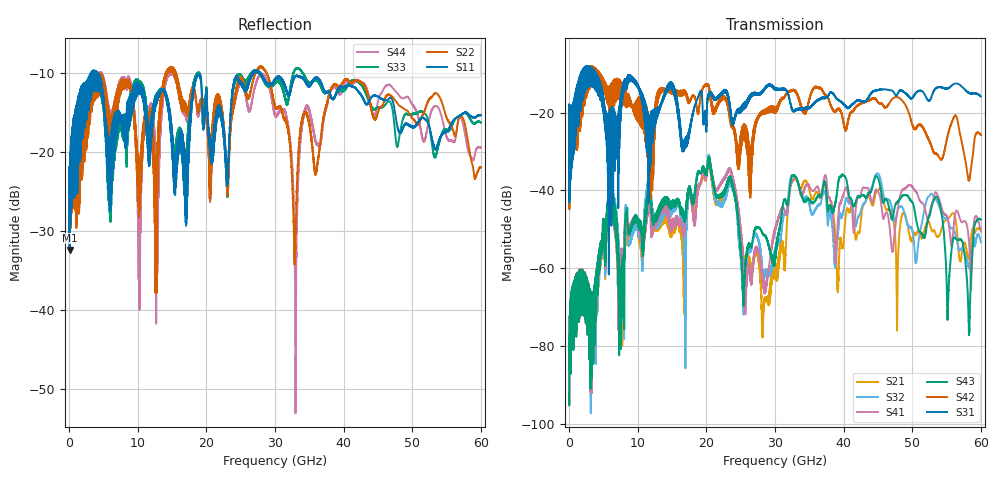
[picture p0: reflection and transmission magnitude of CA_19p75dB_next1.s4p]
!4 port subset of full cascaded channels using these ports:51 37 52 38
# Hz S RI R 50
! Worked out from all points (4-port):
!   6000 points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, 10 MHz to 60 GHz, reference 50 ohm
!   strongest paths, dB at 10 MHz, 15.01 GHz, 30.01 GHz, 45.01 GHz, 60 GHz:
!     S31: -21.8, -12.9, -13.7, -14.2, -15.8
!     S42: -21.9, -14.4, -18.7, -17.3, -25.7
!     S43: -92.1, -44.1, -56.1, -36.8, -47.5
!     S41: -92.1, -49.7, -50.1, -40.4, -50.6
!     S32: -91.9, -45.3, -55.4, -35.7, -53.3
!     S21: -92.0, -50.7, -60.9, -40.1, -49.9
!   lowest |S11| = -32.4 dB at 90 MHz (marker M1), VSWR 1.05, Z = 52.4 - j0.183 ohm
!   |S11| at or under -10 dB: start of sweep to 3.197 GHz; 4.192 GHz to 26.71 GHz (22.52 GHz wide, 146 % of centre); 27.9 GHz to end of sweep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
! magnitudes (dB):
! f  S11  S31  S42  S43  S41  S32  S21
! 10 MHz  -23.9  -21.8  -21.9  -92.1  -92.1  -91.9  -92.0
! 90 MHz  -32.4  -22.8  -21.9  -75.4  -75.3  -75.3  -75.3
! 20.38 GHz  -17.2  -15.0  -13.4  -32.2  -32.6  -31.5  -32.7
! 28.33 GHz  -10.7  -14.4  -20.1  -51.3  -63.4  -62.1  -70.8
! 32.83 GHz  -10.6  -19.5  -14.5  -36.2  -36.8  -36.3  -37.1
! 58.25 GHz  -15.3  -15.0  -37.3  -75.9  -52.6  -59.8  -57.4
! 60 GHz  -15.3  -15.8  -25.7  -47.5  -50.6  -53.3  -49.9
